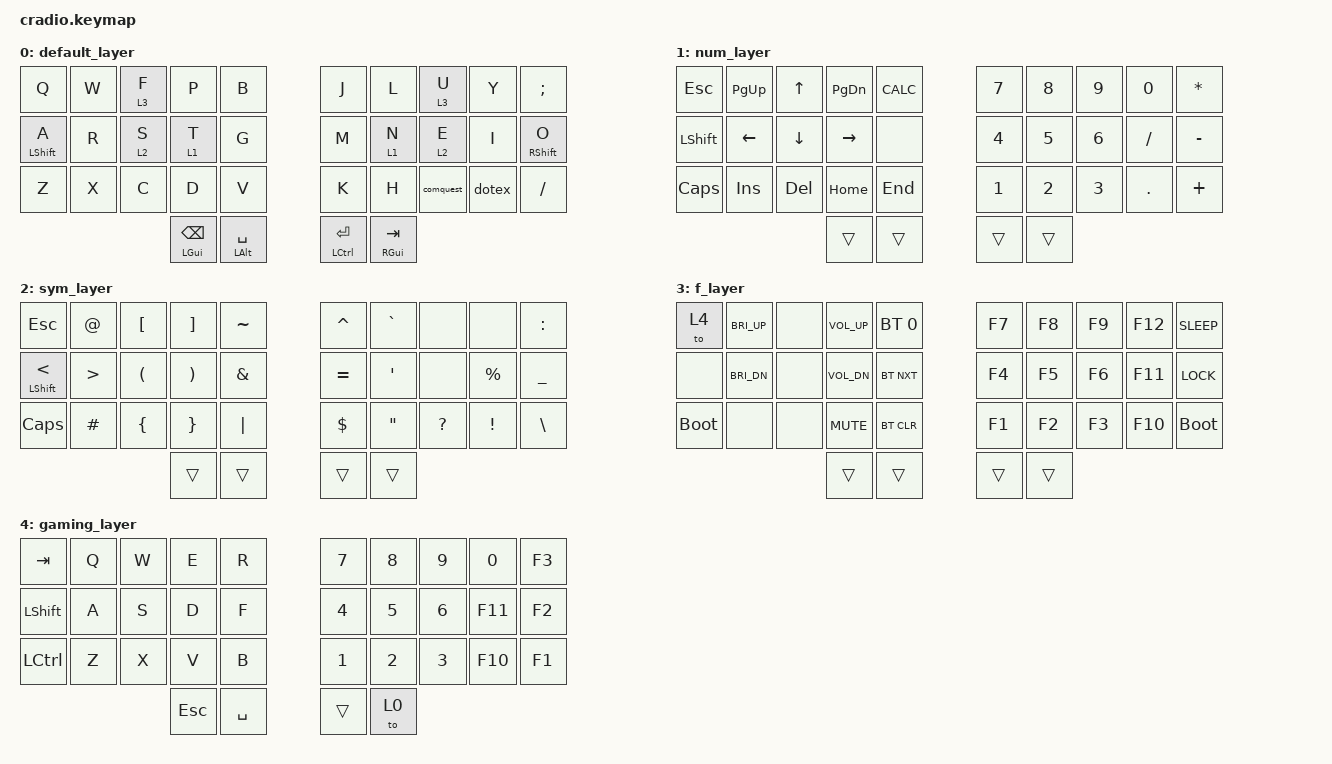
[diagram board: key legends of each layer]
// Copyright (c) 2022 The ZMK Contributors
// SPDX-License-Identifier: MIT

#include <behaviors.dtsi>
#include <dt-bindings/zmk/keys.h>
#include <dt-bindings/zmk/bt.h>


/ {
    behaviors {
        ht: hold_tap {
            compatible = "zmk,behavior-hold-tap";
            #binding-cells = <2>;
            flavor = "tap-preferred";
            tapping-term-ms = <220>;
            quick-tap-ms = <150>;
            require-prior-idle-ms = <100>;
            bindings = <&kp>, <&kp>;
        };
        comquest: comma_question {
            compatible = "zmk,behavior-mod-morph";
            #binding-cells = <0>;
            bindings = <&kp COMMA>, <&kp QMARK>;
            mods = <(MOD_LSFT|MOD_RSFT)>;
        };
        dotex: dot_exclamation {
            compatible = "zmk,behavior-mod-morph";
            #binding-cells = <0>;
            bindings = <&kp DOT>, <&kp EXCL>;
            mods = <(MOD_LSFT|MOD_RSFT)>;
        };
        sslash: super_slash {
            compatible = "zmk,behavior-mod-morph";
            #binding-cells = <0>;
            bindings = <&kp FSLH>, <&kp BSLH>;
            mods = <(MOD_LSFT|MOD_RSFT)>;
        };
    };

    keymap {
        compatible = "zmk,keymap";
        default_layer {
            bindings = <
        //╭──────────┬──────────┬──────────┬──────────┬──────────╮   ╭──────────┬──────────┬──────────┬──────────┬──────────╮
        //│  Q       │  W       │  F       │  P       │  B       │   │  J       │  L       │  U       │  Y       │  ;       │
            &kp Q      &kp W     &lt 3 F      &kp P      &kp B          &kp J      &kp L     &lt 3 U    &kp Y      &kp SEMI
        //├──────────┼──────────┼──────────┼──────────┼──────────┤   ├──────────┼──────────┼──────────┼──────────┼──────────┤
        //│  A       │  R       │  S       │  T       │  G       │   │  M       │  N       │  E       │  I       │  O       │
          &mt LSHIFT A &kp R      &lt 2 S    &lt 1 T    &kp G          &kp M      &lt 1 N    &lt 2 E    &kp I    &mt RSHIFT O
        //├──────────┼──────────┼──────────┼──────────┼──────────┤   ├──────────┼──────────┼──────────┼──────────┼──────────┤
        //│  Z       │  X       │  C       │  D       │  V       │   │  K       │  H       │ , ?      │ . !      │ / \      │
            &kp Z      &kp X      &kp C      &kp D      &kp V          &kp K      &kp H      &comquest  &dotex    &kp FSLH
        //╰──────────┴──────────┴──────────┼──────────┼──────────┤   ├──────────┼──────────┼──────────┴──────────┴──────────╯
                                       &mt LGUI BSPC &mt LALT SPACE &mt LCTL RET &mt RGUI TAB
        //                                 ╰──────────┴──────────╯   ╰──────────┴──────────╯
            >;
        };

        num_layer {
            bindings = <
        //╭──────────┬──────────┬──────────┬──────────┬──────────╮   ╭──────────┬──────────┬──────────┬──────────┬──────────╮
        //│ ESC      │ Page Up  │  UP      │Page down │ Calc     │   │  7       │  8       │  9       │  0       │  *       │
            &kp ESC    &kp PG_UP   &kp UP  &kp PG_DN &kp K_CALC      &kp N7      &kp N8       &kp N9   &kp N0    &kp STAR
        //├──────────┼──────────┼──────────┼──────────┼──────────┤   ├──────────┼──────────┼──────────┼──────────┼──────────┤
        //│ SHIFT    │  LEFT    │  DOWN    │  RIGHT   │Gamer Mode│   │ 4        │ 5        │ 6        │ / ?      │  - _     │
           &kp LSHIFT  &kp LEFT  &kp DOWN    &kp RIGHT  &none          &kp N4       &kp N5     &kp N6    &kp FSLH   &kp MINUS
        //├──────────┼──────────┼──────────┼──────────┼──────────┤   ├──────────┼──────────┼──────────┼──────────┼──────────┤
        //│ CAPS     │  Ins     │  Del     │  HOME    │  End     │   │  1       │  2       │   3      │    .     │    +     │
           &kp CAPS   &kp INS    &kp DEL    &kp HOME   &kp END         &kp N1     &kp N2     &kp N3      &kp DOT    &kp PLUS
        //╰──────────┴──────────┴──────────┼──────────┼──────────┤   ├──────────┼──────────┼──────────┴──────────┴──────────╯
                                             &trans     &trans        &trans     &trans
        //                                 ╰──────────┴──────────╯   ╰──────────┴──────────╯
            >;
        };

        sym_layer {
            bindings = <
        //╭──────────┬──────────┬──────────┬──────────┬──────────╮   ╭──────────┬──────────┬──────────┬──────────┬──────────╮
        //│  Esc     │  @       │  [       │  ]       │   ~      │   │  ^       │  `       │          │          │   :      │
            &kp ESC   &kp AT     &kp LBKT   &kp RBKT   &kp TILDE      &kp CARET  &kp GRAVE   &none      &none     &kp COLON
        //├──────────┼──────────┼──────────┼──────────┼──────────┤   ├──────────┼──────────┼──────────┼──────────┼──────────┤
        //│    <     │    >     │  (       │   )      │   &      │   │  =       │  '       │          │  %       │  _       │
         &mt LSHIFT LT  &kp GT    &kp LPAR   &kp RPAR   &kp AMPS      &kp EQUAL   &kp SQT      &none    &kp PRCNT  &kp UNDER
        //├──────────┼──────────┼──────────┼──────────┼──────────┤   ├──────────┼──────────┼──────────┼──────────┼──────────┤
        //│   CAPS    │  #       │    {     │    }     │   |      │   │  $       │  "       │    ?     │  !       │    \     │
            &kp CAPS     &kp HASH   &kp LBRC   &kp RBRC   &kp PIPE       &kp DLLR   &kp DQT   &kp QMARK   &kp EXCL    &kp BSLH
        //╰──────────┴──────────┴──────────┼──────────┼──────────┤   ├──────────┼──────────┼──────────┴──────────┴──────────╯
                                             &trans     &trans         &trans     &trans
        //                                 ╰──────────┴──────────╯   ╰──────────┴──────────╯
            >;
        };

        f_layer {
            bindings = <
        //╭──────────┬──────────┬──────────┬──────────┬──────────╮   ╭──────────┬──────────┬──────────┬──────────┬──────────╮
        //│  Layer 4 │ Bright + │          │  Vol +   |PROFILE 0 │   │    F7    │  F8      │   F9     │  F12     │  Sleep   │
            &to 4   &kp C_BRI_UP   &none  &kp K_VOL_UP &bt BT_SEL 0    &kp F7     &kp F8     &kp F9     &kp F12 &kp K_SLEEP
        //├──────────┼──────────┼──────────┼──────────┼──────────┤   ├──────────┼──────────┼──────────┼──────────┼──────────┤
        //│          │ Bright - │          │  Vol -   │PROF NEXT │   │  F4      │  F5      │  F6      │   F11    │   Lock   │
             &none   &kp C_BRI_DN   &none &kp K_VOL_DN &bt BT_NXT      &kp F4     &kp F5     &kp F6     &kp F11 &kp K_LOCK
        //├──────────┼──────────┼──────────┼──────────┼──────────┤   ├──────────┼──────────┼──────────┼──────────┼──────────┤
        //│ BOOTLDR             │          │  Mute    │ BT Clear |   │   F1     │  F2      │  F3      │  F10     │ BOOTLDR  │
          &bootloader    &none      &none   &kp K_MUTE &bt BT_CLR       &kp F1     &kp F2     &kp F3     &kp F10  &bootloader
        //╰──────────┴──────────┴──────────┼──────────┼──────────┤   ├──────────┼──────────┼──────────┴──────────┴──────────╯
                                            &trans     &trans         &trans     &trans
      //                                 ╰──────────┴──────────╯   ╰──────────┴──────────╯
            >;
        };
        gaming_layer {
            bindings = <
        //╭──────────┬──────────┬──────────┬──────────┬──────────╮   ╭──────────┬──────────┬──────────┬──────────┬──────────╮
        //│   TAB    │ Q        │   W      │  E       |   R      │   │     7    │   8      │    9     │  0       │    F3    │
            &kp TAB   &kp Q       &kp W      &kp E     &kp R           &kp N7     &kp N8     &kp N9     &kp 0      &kp F3
        //├──────────┼──────────┼──────────┼──────────┼──────────┤   ├──────────┼──────────┼──────────┼──────────┼──────────┤
        //│   Shift  │   A      │    S     │  D       │    F     │   │   4      │   5      │   6      │   F11    │   F2     │
           &kp LSHIFT  &kp A     &kp S       &kp D     &kp F            &kp N4     &kp N5     &kp N6     &kp F11   &kp F2
        //├──────────┼──────────┼──────────┼──────────┼──────────┤   ├──────────┼──────────┼──────────┼──────────┼──────────┤
        //│ CNTRL    │    Z     │  X       │ V        |    B     |   │   1      │   2      │   3      │  F10     │     F1   │
          &kp LCTRL    &kp Z     &kp X      &kp V      &kp B          &kp N1     &kp N2     &kp N3     &kp F10      &kp F1
        //╰──────────┴──────────┴──────────┼──────────┼──────────┤   ├──────────┼──────────┼──────────┴──────────┴──────────╯
        //                                 |   Esc    |   Space  |   | Enter/Ctl|  layer 1
                                             &kp ESC   &kp SPACE       &trans     &to 0
      //                                   ╰──────────┴──────────╯   ╰──────────┴──────────╯
            >;
        };
    };
};
